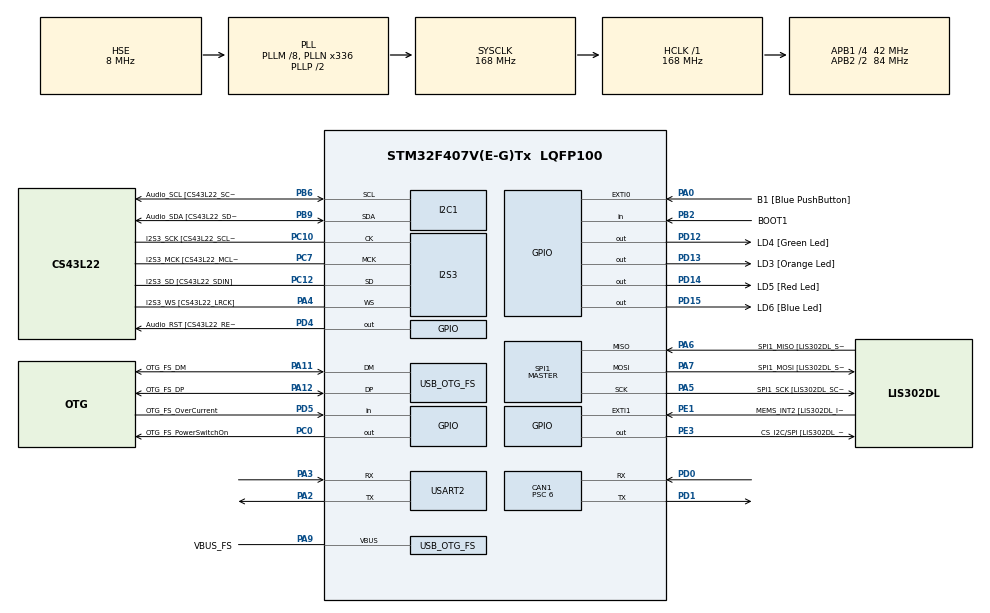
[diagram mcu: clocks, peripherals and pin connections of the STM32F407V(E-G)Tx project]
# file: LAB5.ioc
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CAN1.BS1=CAN_BS1_11TQ
CAN1.BS2=CAN_BS2_2TQ
CAN1.CalculateBaudRate=500000
CAN1.CalculateTimeBit=2000
CAN1.CalculateTimeQuantum=142.85714285714286
CAN1.Prescaler=6
I2S3.AudioFreq-Half_Duplex_Master=I2S_AUDIOFREQ_96K
I2S3.ErrorAudioFreq=-2.34 %
I2S3.ErrorAudioFreq-Half_Duplex_Master=0.8 %
I2S3.FullDuplexMode=I2S_FULLDUPLEXMODE_DISABLE
I2S3.Instance=SPI$Index
I2S3.RealAudioFreq=93.75 KHz
I2S3.RealAudioFreq-Half_Duplex_Master=96.774 KHz
I2S3.VirtualMode=I2S_MODE_MASTER
Mcu.Family=STM32F4
Mcu.Name=STM32F407V(E-G)Tx
Mcu.Package=LQFP100
NVIC.OTG_FS_IRQn=true\:0\:0\:false\:false\:true\:true\:true\:true
NVIC.PriorityGroup=NVIC_PRIORITYGROUP_0
PA0-WKUP.GPIO_Label=B1 [Blue PushButton]
PA0-WKUP.GPIO_ModeDefaultEXTI=GPIO_MODE_EVT_RISING
PA0-WKUP.GPIO_PuPd=GPIO_NOPULL
PA0-WKUP.Signal=GPXTI0
PA10.GPIO_Label=OTG_FS_ID
PA10.GPIO_Mode=GPIO_MODE_AF_PP
PA10.GPIO_PuPd=GPIO_NOPULL
PA10.GPIO_Speed=GPIO_SPEED_FREQ_LOW
PA10.Signal=USB_OTG_FS_ID
PA11.GPIO_Label=OTG_FS_DM
PA11.GPIO_Mode=GPIO_MODE_AF_PP
PA11.GPIO_PuPd=GPIO_NOPULL
PA11.GPIO_Speed=GPIO_SPEED_FREQ_LOW
PA11.Mode=Device_Only
PA11.Signal=USB_OTG_FS_DM
PA12.GPIO_Label=OTG_FS_DP
PA12.GPIO_Mode=GPIO_MODE_AF_PP
PA12.GPIO_PuPd=GPIO_NOPULL
PA12.GPIO_Speed=GPIO_SPEED_FREQ_LOW
PA12.Mode=Device_Only
PA12.Signal=USB_OTG_FS_DP
PA13.GPIO_Label=SWDIO
PA13.Mode=Serial_Wire
PA13.Signal=SYS_JTMS-SWDIO
PA14.GPIO_Label=SWCLK
PA14.Mode=Serial_Wire
PA14.Signal=SYS_JTCK-SWCLK
PA2.Mode=Asynchronous
PA2.Signal=USART2_TX
PA3.Mode=Asynchronous
PA3.Signal=USART2_RX
PA4.GPIO_Label=I2S3_WS [CS43L22_LRCK]
PA4.GPIO_Mode=GPIO_MODE_AF_PP
PA4.GPIO_PuPd=GPIO_NOPULL
PA4.GPIO_Speed=GPIO_SPEED_FREQ_LOW
PA4.Mode=Half_Duplex_Master
PA4.Signal=I2S3_WS
PA5.GPIO_Label=SPI1_SCK [LIS302DL_SCL/SPC]
PA5.GPIO_Mode=GPIO_MODE_AF_PP
PA5.GPIO_PuPd=GPIO_NOPULL
PA5.GPIO_Speed=GPIO_SPEED_FREQ_LOW
PA5.Mode=Full_Duplex_Master
PA5.Signal=SPI1_SCK
PA6.GPIO_Label=SPI1_MISO [LIS302DL_SDO]
PA6.GPIO_Mode=GPIO_MODE_AF_PP
PA6.GPIO_PuPd=GPIO_NOPULL
PA6.GPIO_Speed=GPIO_SPEED_FREQ_LOW
PA6.Mode=Full_Duplex_Master
PA6.Signal=SPI1_MISO
PA7.GPIO_Label=SPI1_MOSI [LIS302DL_SDA/SDI/SDO]
PA7.GPIO_Mode=GPIO_MODE_AF_PP
PA7.GPIO_PuPd=GPIO_NOPULL
PA7.GPIO_Speed=GPIO_SPEED_FREQ_LOW
PA7.Mode=Full_Duplex_Master
PA7.Signal=SPI1_MOSI
PA9.GPIO_Label=VBUS_FS
PA9.GPIO_Mode=GPIO_MODE_INPUT
PA9.GPIO_PuPd=GPIO_NOPULL
PA9.Mode=Activate_VBUS
PA9.Signal=USB_OTG_FS_VBUS
PB10.GPIO_Label=CLK_IN [MP45DT02_CLK]
PB10.GPIO_Mode=GPIO_MODE_AF_PP
PB10.GPIO_PuPd=GPIO_NOPULL
PB10.GPIO_Speed=GPIO_SPEED_FREQ_LOW
PB10.Signal=I2S2_CK
PB2.GPIO_Label=BOOT1
PB2.GPIO_Mode=GPIO_MODE_INPUT
PB2.GPIO_PuPd=GPIO_NOPULL
PB2.Signal=GPIO_Input
PB3.GPIO_Label=SWO
PB3.Signal=SYS_JTDO-SWO
PB6.GPIO_Label=Audio_SCL [CS43L22_SCL]
PB6.GPIO_Mode=GPIO_MODE_AF_OD
PB6.GPIO_Pu=GPIO_PULLUP
PB6.GPIO_PuPd=GPIO_NOPULL
PB6.GPIO_Speed=GPIO_SPEED_FREQ_LOW
PB6.Mode=I2C
PB6.Signal=I2C1_SCL
PB9.GPIO_Label=Audio_SDA [CS43L22_SDA]
PB9.GPIO_Mode=GPIO_MODE_AF_OD
PB9.GPIO_Pu=GPIO_PULLUP
PB9.GPIO_PuPd=GPIO_NOPULL
PB9.GPIO_Speed=GPIO_SPEED_FREQ_LOW
PB9.Mode=I2C
PB9.Signal=I2C1_SDA
PC0.GPIO_Label=OTG_FS_PowerSwitchOn
PC0.GPIO_PuPd=GPIO_NOPULL
PC0.GPIO_Speed=GPIO_SPEED_FREQ_LOW
PC0.PinState=GPIO_PIN_SET
PC0.Signal=GPIO_Output
PC10.GPIO_Label=I2S3_SCK [CS43L22_SCLK]
PC10.GPIO_Mode=GPIO_MODE_AF_PP
PC10.GPIO_PuPd=GPIO_NOPULL
PC10.GPIO_Speed=GPIO_SPEED_FREQ_LOW
PC10.Mode=Half_Duplex_Master
PC10.Signal=I2S3_CK
PC12.GPIO_Label=I2S3_SD [CS43L22_SDIN]
PC12.GPIO_Mode=GPIO_MODE_AF_PP
PC12.GPIO_PuPd=GPIO_NOPULL
PC12.GPIO_Speed=GPIO_SPEED_FREQ_LOW
PC12.Mode=Half_Duplex_Master
PC12.Signal=I2S3_SD
PC14-OSC32_IN.GPIO_Label=PC14-OSC32_IN
PC14-OSC32_IN.Mode=LSE-External-Oscillator
PC14-OSC32_IN.Signal=RCC_OSC32_IN
PC15-OSC32_OUT.GPIO_Label=PC15-OSC32_OUT
PC15-OSC32_OUT.Mode=LSE-External-Oscillator
PC15-OSC32_OUT.Signal=RCC_OSC32_OUT
PC3.GPIO_Label=PDM_OUT [MP45DT02_DOUT]
PC3.GPIO_Mode=GPIO_MODE_AF_PP
PC3.GPIO_PuPd=GPIO_NOPULL
PC3.GPIO_Speed=GPIO_SPEED_FREQ_LOW
PC3.Signal=I2S2_SD
PC7.GPIO_Label=I2S3_MCK [CS43L22_MCLK]
PC7.GPIO_Mode=GPIO_MODE_AF_PP
PC7.GPIO_PuPd=GPIO_NOPULL
PC7.GPIO_Speed=GPIO_SPEED_FREQ_LOW
PC7.Mode=Master_Clock_Activated
PC7.Signal=I2S3_MCK
PD0.Mode=CAN_Activate
PD0.Signal=CAN1_RX
PD1.Mode=CAN_Activate
PD1.Signal=CAN1_TX
PD12.GPIO_Label=LD4 [Green Led]
PD12.GPIO_PuPd=GPIO_NOPULL
PD12.GPIO_Speed=GPIO_SPEED_FREQ_LOW
PD12.Signal=GPIO_Output
PD13.GPIO_Label=LD3 [Orange Led]
PD13.GPIO_PuPd=GPIO_NOPULL
PD13.GPIO_Speed=GPIO_SPEED_FREQ_LOW
PD13.Signal=GPIO_Output
PD14.GPIO_Label=LD5 [Red Led]
PD14.GPIO_PuPd=GPIO_NOPULL
PD14.GPIO_Speed=GPIO_SPEED_FREQ_LOW
PD14.Signal=GPIO_Output
PD15.GPIO_Label=LD6 [Blue Led]
PD15.GPIO_PuPd=GPIO_NOPULL
PD15.GPIO_Speed=GPIO_SPEED_FREQ_LOW
PD15.Signal=GPIO_Output
PD4.GPIO_Label=Audio_RST [CS43L22_RESET]
PD4.GPIO_PuPd=GPIO_NOPULL
PD4.GPIO_Speed=GPIO_SPEED_FREQ_LOW
PD4.Signal=GPIO_Output
PD5.GPIO_Label=OTG_FS_OverCurrent
PD5.GPIO_Mode=GPIO_MODE_INPUT
PD5.GPIO_PuPd=GPIO_NOPULL
PD5.Signal=GPIO_Input
PE1.GPIO_Label=MEMS_INT2 [LIS302DL_INT2]
PE1.GPIO_ModeDefaultEXTI=GPIO_MODE_EVT_RISING
PE1.GPIO_PuPd=GPIO_NOPULL
PE1.Signal=GPXTI1
PE3.GPIO_Label=CS_I2C/SPI [LIS302DL_CS_I2C/SPI]
PE3.GPIO_PuPd=GPIO_NOPULL
PE3.GPIO_Speed=GPIO_SPEED_FREQ_LOW
PE3.Signal=GPIO_Output
PH0-OSC_IN.GPIO_Label=PH0-OSC_IN
PH0-OSC_IN.Mode=HSE-External-Oscillator
PH0-OSC_IN.Signal=RCC_OSC_IN
PH1-OSC_OUT.GPIO_Label=PH1-OSC_OUT
PH1-OSC_OUT.Mode=HSE-External-Oscillator
PH1-OSC_OUT.Signal=RCC_OSC_OUT
ProjectManager.HeapSize=0x200
ProjectManager.StackSize=0x400
ProjectManager.TargetToolchain=STM32CubeIDE
RCC.48MHZClocksFreq_Value=48000000
RCC.AHBFreq_Value=168000000
RCC.APB1CLKDivider=RCC_HCLK_DIV4
RCC.APB1Freq_Value=42000000
RCC.APB1TimFreq_Value=84000000
RCC.APB2CLKDivider=RCC_HCLK_DIV2
RCC.APB2Freq_Value=84000000
RCC.APB2TimFreq_Value=168000000
RCC.CortexFreq_Value=168000000
RCC.HCLKFreq_Value=168000000
RCC.HSE_VALUE=8000000
RCC.HSI_VALUE=16000000
RCC.PLLM=8
RCC.PLLN=336
RCC.PLLQ=7
RCC.SYSCLKFreq_VALUE=168000000
RCC.SYSCLKSource=RCC_SYSCLKSOURCE_PLLCLK
RCC.VCOOutputFreq_Value=336000000
SPI1.BaudRatePrescaler-Full_Duplex_Master=SPI_BAUDRATEPRESCALER_2
SPI1.CalculateBaudRate-Full_Duplex_Master=42.0 MBits/s
SPI1.Direction=SPI_DIRECTION_2LINES
SPI1.Mode=SPI_MODE_MASTER
SPI1.Mode-Full_Duplex_Master=SPI_MODE_MASTER
SPI1.VirtualType=VM_MASTER
USART2.VirtualMode=VM_ASYNC
USB_DEVICE.CLASS_NAME_FS=CDC
USB_DEVICE.VirtualMode-CDC_FS=Cdc
USB_DEVICE.VirtualModeFS=Cdc_FS
USB_OTG_FS.VirtualMode=Device_Only
VP_USB_DEVICE_VS_USB_DEVICE_CDC_FS.Mode=CDC_FS
board=STM32F407G-DISC1

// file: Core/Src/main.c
/* USER CODE BEGIN Header */
/**
  ******************************************************************************
  * @file           : main.c
  * @brief          : Main program body
  ******************************************************************************
  * @attention
  *
  * Copyright (c) 2026 STMicroelectronics.
  * All rights reserved.
  *
  * This software is licensed under terms that can be found in the LICENSE file
  * in the root directory of this software component.
  * If no LICENSE file comes with this software, it is provided AS-IS.
  *
  ******************************************************************************
  */
/* USER CODE END Header */
#include "main.h"
#include "usb_device.h"

/* USER CODE BEGIN Includes */
#include "usbd_cdc_if.h"
#include <string.h>
/* USER CODE END Includes */

CAN_HandleTypeDef hcan1;

I2C_HandleTypeDef hi2c1;

I2S_HandleTypeDef hi2s3;

SPI_HandleTypeDef hspi1;

UART_HandleTypeDef huart2;

void SystemClock_Config(void);
static void MX_GPIO_Init(void);
static void MX_CAN1_Init(void);
static void MX_I2C1_Init(void);
static void MX_I2S3_Init(void);
static void MX_SPI1_Init(void);
static void MX_USART2_UART_Init(void);

int main(void)
{

  /* MCU Configuration--------------------------------------------------------*/

  /* Reset of all peripherals, Initializes the Flash interface and the Systick. */
  HAL_Init();

  /* Configure the system clock */
  SystemClock_Config();

  /* Initialize all configured peripherals */
  MX_GPIO_Init();
  MX_CAN1_Init();
  MX_I2C1_Init();
  MX_I2S3_Init();
  MX_SPI1_Init();
  MX_USART2_UART_Init();
  MX_USB_DEVICE_Init();
  /* USER CODE BEGIN 2 */
  CAN_FilterTypeDef canFilter = {0};

  canFilter.FilterBank = 0;
  canFilter.FilterMode = CAN_FILTERMODE_IDMASK;
  canFilter.FilterScale = CAN_FILTERSCALE_32BIT;
  canFilter.FilterIdHigh = 0x0000;
  canFilter.FilterIdLow = 0x0000;
  canFilter.FilterMaskIdHigh = 0x0000;
  canFilter.FilterMaskIdLow = 0x0000;
  canFilter.FilterFIFOAssignment = CAN_FILTER_FIFO0;
  canFilter.FilterActivation = ENABLE;
  canFilter.SlaveStartFilterBank = 14;

  if (HAL_CAN_ConfigFilter(&hcan1, &canFilter) != HAL_OK)
  {
      Error_Handler();
  }
  HAL_CAN_Start(&hcan1);

  CAN_RxHeaderTypeDef RxHeader;
  uint8_t RxData[8];
  uint32_t TxMailbox;
  CAN_TxHeaderTypeDef TxHeader;
  uint8_t TxData[1];
  TxHeader.StdId = 0x101;
  TxHeader.ExtId = 0;
  TxHeader.IDE = CAN_ID_STD;
  TxHeader.RTR = CAN_RTR_DATA;
  TxHeader.DLC = 1;
  TxHeader.TransmitGlobalTime = DISABLE;

  /* USER CODE END 2 */

  /* Infinite loop */
  /* USER CODE BEGIN WHILE */
  while (1)
  {
	  if (HAL_CAN_GetRxFifoFillLevel(&hcan1, CAN_RX_FIFO0) > 0)
	  {
	      if (HAL_CAN_GetRxMessage(&hcan1, CAN_RX_FIFO0, &RxHeader, RxData) == HAL_OK)
	      {
	          if (RxHeader.StdId == 0x100 && RxHeader.DLC >= 1)
	          {
	              if (RxData[0] == 0x01)
	              {
	                  HAL_GPIO_WritePin(GPIOD, LD4_Pin, GPIO_PIN_SET);
	              }
	              else if (RxData[0] == 0x00)
	              {
	                  HAL_GPIO_WritePin(GPIOD, LD4_Pin, GPIO_PIN_RESET);
	              }
	          }
	      }
	  }

    /* USER CODE END WHILE */

  }
}

void SystemClock_Config(void)
{
  RCC_OscInitTypeDef RCC_OscInitStruct = {0};
  RCC_ClkInitTypeDef RCC_ClkInitStruct = {0};

  /** Configure the main internal regulator output voltage
  */
  __HAL_RCC_PWR_CLK_ENABLE();
  __HAL_PWR_VOLTAGESCALING_CONFIG(PWR_REGULATOR_VOLTAGE_SCALE1);

  /** Initializes the RCC Oscillators according to the specified parameters
  * in the RCC_OscInitTypeDef structure.
  */
  RCC_OscInitStruct.OscillatorType = RCC_OSCILLATORTYPE_HSE;
  RCC_OscInitStruct.HSEState = RCC_HSE_ON;
  RCC_OscInitStruct.PLL.PLLState = RCC_PLL_ON;
  RCC_OscInitStruct.PLL.PLLSource = RCC_PLLSOURCE_HSE;
  RCC_OscInitStruct.PLL.PLLM = 8;
  RCC_OscInitStruct.PLL.PLLN = 336;
  RCC_OscInitStruct.PLL.PLLP = RCC_PLLP_DIV2;
  RCC_OscInitStruct.PLL.PLLQ = 7;
  if (HAL_RCC_OscConfig(&RCC_OscInitStruct) != HAL_OK)
  {
    Error_Handler();
  }

  /** Initializes the CPU, AHB and APB buses clocks
  */
  RCC_ClkInitStruct.ClockType = RCC_CLOCKTYPE_HCLK|RCC_CLOCKTYPE_SYSCLK
                              |RCC_CLOCKTYPE_PCLK1|RCC_CLOCKTYPE_PCLK2;
  RCC_ClkInitStruct.SYSCLKSource = RCC_SYSCLKSOURCE_PLLCLK;
  RCC_ClkInitStruct.AHBCLKDivider = RCC_SYSCLK_DIV1;
  RCC_ClkInitStruct.APB1CLKDivider = RCC_HCLK_DIV4;
  RCC_ClkInitStruct.APB2CLKDivider = RCC_HCLK_DIV2;

  if (HAL_RCC_ClockConfig(&RCC_ClkInitStruct, FLASH_LATENCY_5) != HAL_OK)
  {
    Error_Handler();
  }
}

static void MX_CAN1_Init(void)
{

  hcan1.Instance = CAN1;
  hcan1.Init.Prescaler = 6;
  hcan1.Init.Mode = CAN_MODE_NORMAL;
  hcan1.Init.SyncJumpWidth = CAN_SJW_1TQ;
  hcan1.Init.TimeSeg1 = CAN_BS1_11TQ;
  hcan1.Init.TimeSeg2 = CAN_BS2_2TQ;
  hcan1.Init.TimeTriggeredMode = DISABLE;
  hcan1.Init.AutoBusOff = DISABLE;
  hcan1.Init.AutoWakeUp = DISABLE;
  hcan1.Init.AutoRetransmission = DISABLE;
  hcan1.Init.ReceiveFifoLocked = DISABLE;
  hcan1.Init.TransmitFifoPriority = DISABLE;
  if (HAL_CAN_Init(&hcan1) != HAL_OK)
  {
    Error_Handler();
  }

}

static void MX_I2C1_Init(void)
{

  hi2c1.Instance = I2C1;
  hi2c1.Init.ClockSpeed = 100000;
  hi2c1.Init.DutyCycle = I2C_DUTYCYCLE_2;
  hi2c1.Init.OwnAddress1 = 0;
  hi2c1.Init.AddressingMode = I2C_ADDRESSINGMODE_7BIT;
  hi2c1.Init.DualAddressMode = I2C_DUALADDRESS_DISABLE;
  hi2c1.Init.OwnAddress2 = 0;
  hi2c1.Init.GeneralCallMode = I2C_GENERALCALL_DISABLE;
  hi2c1.Init.NoStretchMode = I2C_NOSTRETCH_DISABLE;
  if (HAL_I2C_Init(&hi2c1) != HAL_OK)
  {
    Error_Handler();
  }

}

static void MX_I2S3_Init(void)
{

  hi2s3.Instance = SPI3;
  hi2s3.Init.Mode = I2S_MODE_MASTER_TX;
  hi2s3.Init.Standard = I2S_STANDARD_PHILIPS;
  hi2s3.Init.DataFormat = I2S_DATAFORMAT_16B;
  hi2s3.Init.MCLKOutput = I2S_MCLKOUTPUT_ENABLE;
  hi2s3.Init.AudioFreq = I2S_AUDIOFREQ_96K;
  hi2s3.Init.CPOL = I2S_CPOL_LOW;
  hi2s3.Init.ClockSource = I2S_CLOCK_PLL;
  hi2s3.Init.FullDuplexMode = I2S_FULLDUPLEXMODE_DISABLE;
  if (HAL_I2S_Init(&hi2s3) != HAL_OK)
  {
    Error_Handler();
  }

}

static void MX_SPI1_Init(void)
{

  /* SPI1 parameter configuration*/
  hspi1.Instance = SPI1;
  hspi1.Init.Mode = SPI_MODE_MASTER;
  hspi1.Init.Direction = SPI_DIRECTION_2LINES;
  hspi1.Init.DataSize = SPI_DATASIZE_8BIT;
  hspi1.Init.CLKPolarity = SPI_POLARITY_LOW;
  hspi1.Init.CLKPhase = SPI_PHASE_1EDGE;
  hspi1.Init.NSS = SPI_NSS_SOFT;
  hspi1.Init.BaudRatePrescaler = SPI_BAUDRATEPRESCALER_2;
  hspi1.Init.FirstBit = SPI_FIRSTBIT_MSB;
  hspi1.Init.TIMode = SPI_TIMODE_DISABLE;
  hspi1.Init.CRCCalculation = SPI_CRCCALCULATION_DISABLE;
  hspi1.Init.CRCPolynomial = 10;
  if (HAL_SPI_Init(&hspi1) != HAL_OK)
  {
    Error_Handler();
  }

}

static void MX_USART2_UART_Init(void)
{

  huart2.Instance = USART2;
  huart2.Init.BaudRate = 115200;
  huart2.Init.WordLength = UART_WORDLENGTH_8B;
  huart2.Init.StopBits = UART_STOPBITS_1;
  huart2.Init.Parity = UART_PARITY_NONE;
  huart2.Init.Mode = UART_MODE_TX_RX;
  huart2.Init.HwFlowCtl = UART_HWCONTROL_NONE;
  huart2.Init.OverSampling = UART_OVERSAMPLING_16;
  if (HAL_UART_Init(&huart2) != HAL_OK)
  {
    Error_Handler();
  }

}

static void MX_GPIO_Init(void)
{
  GPIO_InitTypeDef GPIO_InitStruct = {0};

  /* GPIO Ports Clock Enable */
  __HAL_RCC_GPIOE_CLK_ENABLE();
  __HAL_RCC_GPIOC_CLK_ENABLE();
  __HAL_RCC_GPIOH_CLK_ENABLE();
  __HAL_RCC_GPIOA_CLK_ENABLE();
  __HAL_RCC_GPIOB_CLK_ENABLE();
  __HAL_RCC_GPIOD_CLK_ENABLE();

  /*Configure GPIO pin Output Level */
  HAL_GPIO_WritePin(CS_I2C_SPI_GPIO_Port, CS_I2C_SPI_Pin, GPIO_PIN_RESET);

  /*Configure GPIO pin Output Level */
  HAL_GPIO_WritePin(OTG_FS_PowerSwitchOn_GPIO_Port, OTG_FS_PowerSwitchOn_Pin, GPIO_PIN_SET);

  /*Configure GPIO pin Output Level */
  HAL_GPIO_WritePin(GPIOD, LD4_Pin|LD3_Pin|LD5_Pin|LD6_Pin
                          |Audio_RST_Pin, GPIO_PIN_RESET);

  /*Configure GPIO pin : CS_I2C_SPI_Pin */
  GPIO_InitStruct.Pin = CS_I2C_SPI_Pin;
  GPIO_InitStruct.Mode = GPIO_MODE_OUTPUT_PP;
  GPIO_InitStruct.Pull = GPIO_NOPULL;
  GPIO_InitStruct.Speed = GPIO_SPEED_FREQ_LOW;
  HAL_GPIO_Init(CS_I2C_SPI_GPIO_Port, &GPIO_InitStruct);

  /*Configure GPIO pin : OTG_FS_PowerSwitchOn_Pin */
  GPIO_InitStruct.Pin = OTG_FS_PowerSwitchOn_Pin;
  GPIO_InitStruct.Mode = GPIO_MODE_OUTPUT_PP;
  GPIO_InitStruct.Pull = GPIO_NOPULL;
  GPIO_InitStruct.Speed = GPIO_SPEED_FREQ_LOW;
  HAL_GPIO_Init(OTG_FS_PowerSwitchOn_GPIO_Port, &GPIO_InitStruct);

  /*Configure GPIO pin : PDM_OUT_Pin */
  GPIO_InitStruct.Pin = PDM_OUT_Pin;
  GPIO_InitStruct.Mode = GPIO_MODE_AF_PP;
  GPIO_InitStruct.Pull = GPIO_NOPULL;
  GPIO_InitStruct.Speed = GPIO_SPEED_FREQ_LOW;
  GPIO_InitStruct.Alternate = GPIO_AF5_SPI2;
  HAL_GPIO_Init(PDM_OUT_GPIO_Port, &GPIO_InitStruct);

  /*Configure GPIO pin : B1_Pin */
  GPIO_InitStruct.Pin = B1_Pin;
  GPIO_InitStruct.Mode = GPIO_MODE_EVT_RISING;
  GPIO_InitStruct.Pull = GPIO_NOPULL;
  HAL_GPIO_Init(B1_GPIO_Port, &GPIO_InitStruct);

  /*Configure GPIO pin : BOOT1_Pin */
  GPIO_InitStruct.Pin = BOOT1_Pin;
  GPIO_InitStruct.Mode = GPIO_MODE_INPUT;
  GPIO_InitStruct.Pull = GPIO_NOPULL;
  HAL_GPIO_Init(BOOT1_GPIO_Port, &GPIO_InitStruct);

  /*Configure GPIO pin : CLK_IN_Pin */
  GPIO_InitStruct.Pin = CLK_IN_Pin;
  GPIO_InitStruct.Mode = GPIO_MODE_AF_PP;
  GPIO_InitStruct.Pull = GPIO_NOPULL;
  GPIO_InitStruct.Speed = GPIO_SPEED_FREQ_LOW;
  GPIO_InitStruct.Alternate = GPIO_AF5_SPI2;
  HAL_GPIO_Init(CLK_IN_GPIO_Port, &GPIO_InitStruct);

  /*Configure GPIO pins : LD4_Pin LD3_Pin LD5_Pin LD6_Pin
                           Audio_RST_Pin */
  GPIO_InitStruct.Pin = LD4_Pin|LD3_Pin|LD5_Pin|LD6_Pin
                          |Audio_RST_Pin;
  GPIO_InitStruct.Mode = GPIO_MODE_OUTPUT_PP;
  GPIO_InitStruct.Pull = GPIO_NOPULL;
  GPIO_InitStruct.Speed = GPIO_SPEED_FREQ_LOW;
  HAL_GPIO_Init(GPIOD, &GPIO_InitStruct);

  /*Configure GPIO pin : OTG_FS_OverCurrent_Pin */
  GPIO_InitStruct.Pin = OTG_FS_OverCurrent_Pin;
  GPIO_InitStruct.Mode = GPIO_MODE_INPUT;
  GPIO_InitStruct.Pull = GPIO_NOPULL;
  HAL_GPIO_Init(OTG_FS_OverCurrent_GPIO_Port, &GPIO_InitStruct);

  /*Configure GPIO pin : MEMS_INT2_Pin */
  GPIO_InitStruct.Pin = MEMS_INT2_Pin;
  GPIO_InitStruct.Mode = GPIO_MODE_EVT_RISING;
  GPIO_InitStruct.Pull = GPIO_NOPULL;
  HAL_GPIO_Init(MEMS_INT2_GPIO_Port, &GPIO_InitStruct);

}

/* USER CODE BEGIN 4 */
int __io_putchar(int ch)
{
    HAL_UART_Transmit(&huart2, (uint8_t *)&ch, 1, HAL_MAX_DELAY);
    return ch;
}
/* USER CODE END 4 */

void Error_Handler(void)
{
  __disable_irq();
  while (1)
  {
  }
}
